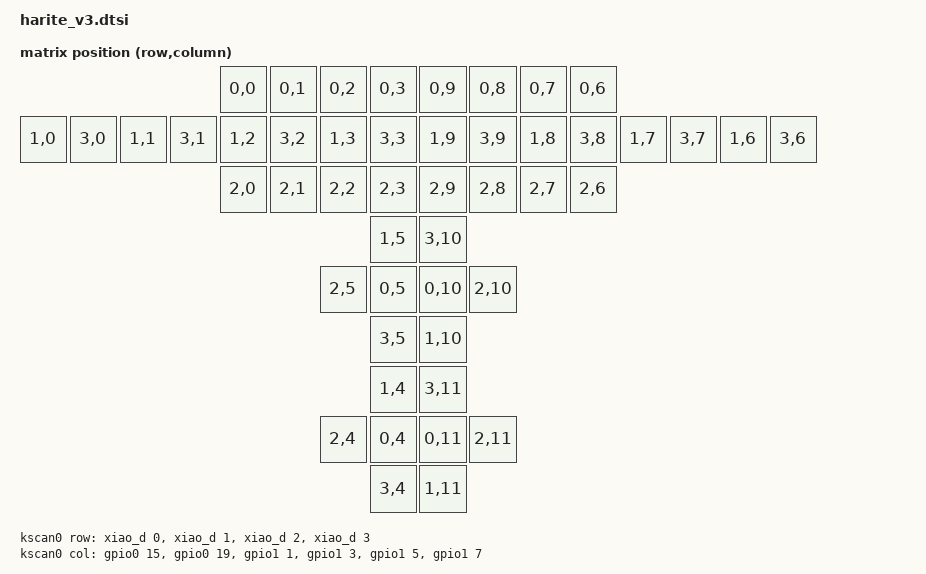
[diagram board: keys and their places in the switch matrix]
#include <dt-bindings/zmk/matrix_transform.h>
#include <zephyr/dt-bindings/input/input-event-codes.h>
#include <input/processors.dtsi>
#include "harite_v3-layouts.dtsi"

/ {

    kscan0: kscan_matrix {
        compatible = "zmk,kscan-gpio-matrix";
        diode-direction = "col2row";
        wakeup-source;

        row-gpios
            = <&xiao_d 0 (GPIO_ACTIVE_HIGH | GPIO_PULL_DOWN)>
            , <&xiao_d 1 (GPIO_ACTIVE_HIGH | GPIO_PULL_DOWN)>
            , <&xiao_d 2 (GPIO_ACTIVE_HIGH | GPIO_PULL_DOWN)>
            , <&xiao_d 3 (GPIO_ACTIVE_HIGH | GPIO_PULL_DOWN)>
            ;

        col-gpios
            = <&gpio0 15 GPIO_ACTIVE_HIGH>
            , <&gpio0 19 GPIO_ACTIVE_HIGH>
            , <&gpio1 1 GPIO_ACTIVE_HIGH>
            , <&gpio1 3 GPIO_ACTIVE_HIGH>
            , <&gpio1 5 GPIO_ACTIVE_HIGH>
            , <&gpio1 7 GPIO_ACTIVE_HIGH>
            ;
    };

    default_transform: keymap_transform_0 {
        compatible = "zmk,matrix-transform";
        columns = <24>;
        rows = <9>;
        map = <
                RC(0,0)                 RC(0,1)                 RC(0,2)                 RC(0,3)                  RC(0,9)                  RC(0,8)                 RC(0,7)                 RC(0,6)
        RC(1,0)         RC(3,0) RC(1,1)         RC(3,1) RC(1,2)         RC(3,2) RC(1,3)         RC(3,3) RC(1,9)           RC(3,9) RC(1,8)         RC(3,8) RC(1,7)         RC(3,7) RC(1,6)         RC(3,6)
                RC(2,0)                 RC(2,1)                 RC(2,2)                 RC(2,3)                  RC(2,9)                  RC(2,8)                 RC(2,7)                 RC(2,6)
                                                                                        RC(1,5)                  RC(3,10)
                                                                                RC(2,5)         RC(0,5) RC(0,10)          RC(2,10)
                                                                                        RC(3,5)                  RC(1,10)
                                                                                        RC(1,4)                  RC(3,11)
                                                                                RC(2,4)         RC(0,4) RC(0,11)          RC(2,11)
                                                                                        RC(3,4)                  RC(1,11)
        >;
    };
};

&pinctrl {
    /* Cirque Trackpad */
    spi0_default: spi0_default {
        group1 {
            psels = <NRF_PSEL(SPIM_SCK, 1, 13)>,
                    <NRF_PSEL(SPIM_MOSI, 1, 15)>,
                    <NRF_PSEL(SPIM_MISO, 1, 14)>;
        };
    };
    spi0_sleep: spi0_sleep {
        group1 {
            psels = <NRF_PSEL(SPIM_SCK, 1, 13)>,
                    <NRF_PSEL(SPIM_MOSI, 1, 15)>,
                    <NRF_PSEL(SPIM_MISO, 1, 14)>;
            low-power-enable;
        };
    };
    /* PMW3610 */
    spi1_default: spi1_default {
        group1 {
            psels = <NRF_PSEL(SPIM_SCK, 1, 13)>,
                    <NRF_PSEL(SPIM_MOSI, 1, 14)>,
                    <NRF_PSEL(SPIM_MISO, 1, 14)>;
        };
    };
    spi1_sleep: spi1_sleep {
        group1 {
            psels = <NRF_PSEL(SPIM_SCK, 1, 13)>,
                    <NRF_PSEL(SPIM_MOSI, 1, 14)>,
                    <NRF_PSEL(SPIM_MISO, 1, 14)>;
            low-power-enable;
        };
    };
};

/* Cirque Trackpad */
&spi0 {
    status = "disabled";
    compatible = "nordic,nrf-spim";
    pinctrl-0 = <&spi0_default>;
    pinctrl-1 = <&spi0_sleep>;
    pinctrl-names = "default", "sleep";
    cs-gpios = <&xiao_d 4 GPIO_ACTIVE_LOW>;
    glidepoint: glidepoint@0 {
        status = "disabled";
        compatible = "cirque,pinnacle";
        reg = <0>;
        spi-max-frequency = <1000000>;
        dr-gpios = <&xiao_d 5 (GPIO_ACTIVE_HIGH)>;
        y-invert;
        rotate-90;

        /* Setting a higher sensitivity causes issues on bluetooth */
        sensitivity = "1x";
        no-taps;
    };
};

/* PMW3610 */
&spi1 {
    status = "disabled";
    compatible = "nordic,nrf-spim";
    pinctrl-0 = <&spi1_default>;
    pinctrl-1 = <&spi1_sleep>;
    pinctrl-names = "default", "sleep";
    cs-gpios = <&xiao_d 4 GPIO_ACTIVE_LOW>;
    trackball: trackball@0 {
        status = "disabled";
        compatible = "pixart,pmw3610";
        reg = <0>;
        spi-max-frequency = <2000000>;
        irq-gpios = <&xiao_d 5 (GPIO_ACTIVE_LOW | GPIO_PULL_UP)>;
        cpi = <800>;
        evt-type = <INPUT_EV_REL>;
        x-input-code = <INPUT_REL_X>;
        y-input-code = <INPUT_REL_Y>;

        force-awake;
        /* keep the sensor awake while ZMK activity state is ACTIVE,
           fallback to normal downshift mode after ZMK goes into IDLE / SLEEP mode.
           thus, the sensor would be a `wakeup-source` */
    };
};

/* &uicr { */
/*     nfct-pins-as-gpios; */
/* }; */
&qspi {
	status = "disabled";
};
